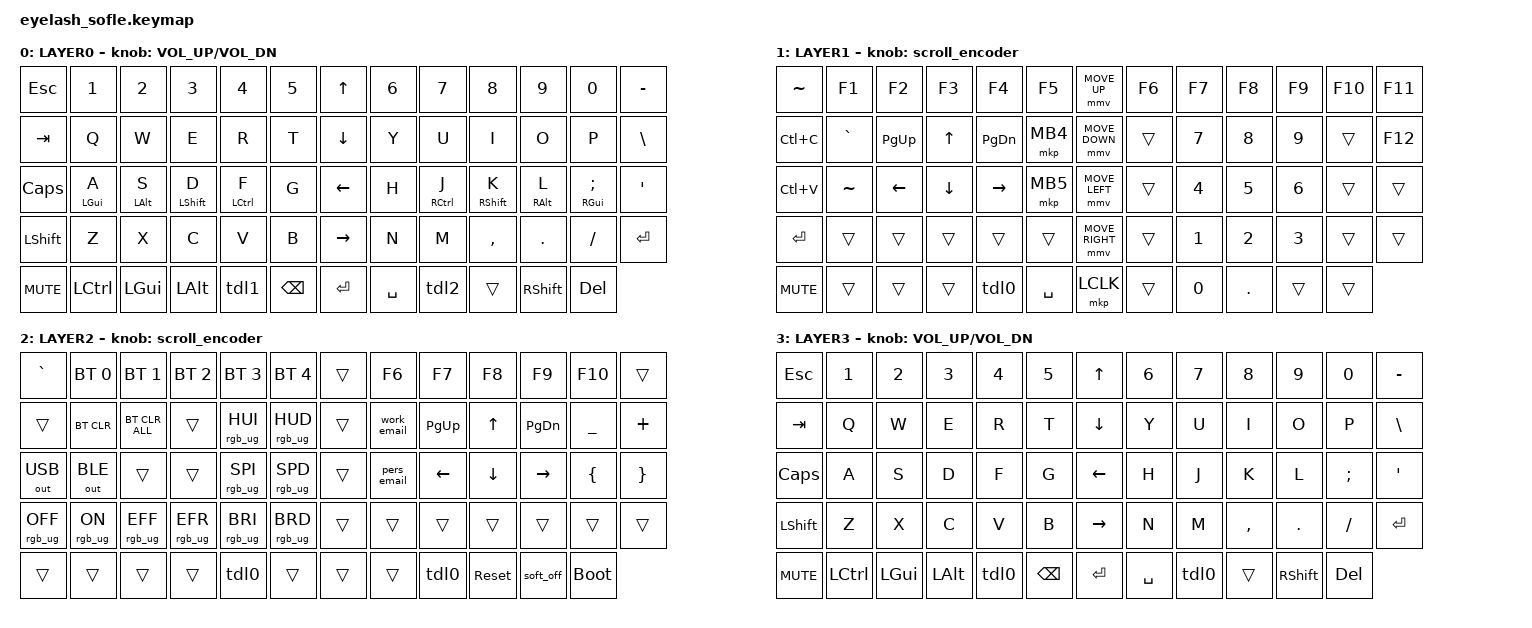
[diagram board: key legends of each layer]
#define ZMK_POINTING_DEFAULT_MOVE_VAL 1200  // 600
#define ZMK_POINTING_DEFAULT_SCRL_VAL 25   // 10

#include <input/processors.dtsi>
#include <zephyr/dt-bindings/input/input-event-codes.h>
#include <behaviors.dtsi>
#include <dt-bindings/zmk/bt.h>
#include <dt-bindings/zmk/keys.h>
#include <dt-bindings/zmk/outputs.h>
#include <dt-bindings/zmk/pointing.h>
#include <dt-bindings/zmk/rgb.h>

// Custom includes
#include "key_labels.h"

// Mouse/scroll globals 
&mmv_input_listener { input-processors = <&zip_xy_scaler 2 1>; };

&msc_input_listener { input-processors = <&zip_scroll_scaler 2 1>; };

&msc {
    acceleration-exponent = <1>;      // 0
    time-to-max-speed-ms = <100>;     // 300
    delay-ms = <0>;                   // 0
};

&mmv {
    time-to-max-speed-ms = <1500>;
    acceleration-exponent = <1>;
    trigger-period-ms = <16>;
};

/ {
	scroll_encoder: scroll_encoder {
        compatible = "zmk,behavior-sensor-rotate";
        #sensor-binding-cells = <0>;
        bindings = <&msc SCRL_DOWN>, <&msc SCRL_UP>;

        tap-ms = <100>;
    };
};

// Homerow mods

#define KEYS_L LT0 LT1 LT2 LT3 LT4 LT5 LM0 LM1 LM2 LM3 LM4 LM5 LB0 LB1 LB2 LB3 LB4 LB5
#define KEYS_R RT0 RT1 RT2 RT3 RT4 RT5 RM0 RM1 RM2 RM3 RM4 RM5 RB0 RB1 RB2 RB3 RB4 RB5
#define THUMBS LH4 LH3 LH2 LH1 LH0 RH0 RH1 RH2 RH3 RH4

#define TAPPING_TERM        280 	// tested down to 200ms. Now reset to original 280
#define TAPPING_TERM_FAST   180 	// added for home row mod shifts
#define QUICK_TAP_MS        175
#define PRIOR_IDLE          80		// changed from 100 to 80ms

/ {
    behaviors {
        hml: home_row_mod_left {
            compatible = "zmk,behavior-hold-tap";
            #binding-cells = <2>;
            flavor = "balanced";
            require-prior-idle-ms = <PRIOR_IDLE>;
            tapping-term-ms = <TAPPING_TERM>;
            quick-tap-ms = <QUICK_TAP_MS>;
            bindings = <&kp>, <&kp>;
            hold-trigger-key-positions = <KEYS_R THUMBS>;
            hold-trigger-on-release;
        };
        hmr: home_row_mod_right {
            compatible = "zmk,behavior-hold-tap";
            #binding-cells = <2>;
            flavor = "balanced";
            require-prior-idle-ms = <PRIOR_IDLE>;
            tapping-term-ms = <TAPPING_TERM>;
            quick-tap-ms = <QUICK_TAP_MS>;
            bindings = <&kp>, <&kp>;
            hold-trigger-key-positions = <KEYS_L THUMBS>;
            hold-trigger-on-release;
        };
	hmls: hml_shift {
            compatible = "zmk,behavior-hold-tap";
            #binding-cells = <2>;
            bindings = <&kp>, <&kp>;
            flavor = "balanced";
            tapping-term-ms = <TAPPING_TERM_FAST>;
            quick-tap-ms = <QUICK_TAP_MS>;
            require-prior-idle-ms = <PRIOR_IDLE>;
            hold-trigger-key-positions = <KEYS_R THUMBS>;
            // hold-trigger-on-release;
        };
        hmrs: hmr_shift {
            compatible = "zmk,behavior-hold-tap";
            #binding-cells = <2>;
            bindings = <&kp>, <&kp>;
            flavor = "balanced";
            tapping-term-ms = <TAPPING_TERM_FAST>;
            quick-tap-ms = <QUICK_TAP_MS>;
            require-prior-idle-ms = <PRIOR_IDLE>;
            hold-trigger-key-positions = <KEYS_L THUMBS>;
            // hold-trigger-on-release;
        };
    };
};

// Combos

#define COMBO_TM_FAST 22
#define COMBO_TM_SLOW 60

/ {
    combos {
        compatible = "zmk,combos";

        // Layers
        combo_tolayer0 {
            timeout-ms = <COMBO_TM_SLOW>;
            key-positions = <LH0 RH0>;
            bindings = <&lct0>;
        };
        combo_tolayer1 {
            timeout-ms = <COMBO_TM_SLOW>;
            key-positions = <LH1 RH1>;
            bindings = <&lct1>;
        };
        combo_tolayer2 {
            timeout-ms = <COMBO_TM_SLOW>;
            key-positions = <LH0 RH1>;
            bindings = <&lct2>;
        };
        combo_tolayer3 {
            timeout-ms = <COMBO_TM_SLOW>;
            key-positions = <LH1 RH0>;
            bindings = <&lct3>;
        };

        // Navigation
        combo_home {
            timeout-ms = <COMBO_TM_FAST>;
            require-prior-idle-ms = <PRIOR_IDLE>;
            key-positions = <LM3 LM2>;
            bindings = <&kp HOME>;
        };
        combo_end {
            timeout-ms = <COMBO_TM_FAST>;
            require-prior-idle-ms = <PRIOR_IDLE>;
            key-positions = <RM2 RM3>;
            bindings = <&kp END>;
        };
        combo_delete {
            timeout-ms = <COMBO_TM_FAST>;
            require-prior-idle-ms = <PRIOR_IDLE>;
            key-positions = <LM2 LM1>;
            bindings = <&kp DELETE>;
        };
        combo_refresh {
            timeout-ms = <COMBO_TM_FAST>;
            require-prior-idle-ms = <PRIOR_IDLE>;
            key-positions = <LT3 LT2>;
            bindings = <&kp F5>;
        };

        // Symbols
        combo_l_curly { //                          {
            timeout-ms = <COMBO_TM_FAST>;
            require-prior-idle-ms = <PRIOR_IDLE>;  
            key-positions = <LM1 LM0>;
            bindings = <&kp LBRC>;
        };
        combo_r_curly { //                          }
            timeout-ms = <COMBO_TM_FAST>;
            require-prior-idle-ms = <PRIOR_IDLE>;
            key-positions = <RM0 RM1>;
            bindings = <&kp RBRC>;
        };
        combo_l_bracket { //                        [
            timeout-ms = <COMBO_TM_FAST>;
            require-prior-idle-ms = <PRIOR_IDLE>;
            key-positions = <LB3 LB2>;
            bindings = <&kp LBKT>;
        };
        combo_r_bracket { //                        ]
            timeout-ms = <COMBO_TM_FAST>;
            require-prior-idle-ms = <PRIOR_IDLE>;
            key-positions = <RB2 RB3>;
            bindings = <&kp RBKT>;
        };
        combo_equals { //                           =
            timeout-ms = <COMBO_TM_FAST>;
            require-prior-idle-ms = <PRIOR_IDLE>;
            key-positions = <RM1 RM2>;
            bindings = <&kp EQUAL>;
        };
        combo_plus { //                             +
            timeout-ms = <COMBO_TM_FAST>;
            require-prior-idle-ms = <PRIOR_IDLE>;
            key-positions = <RB1 RB2>;
            bindings = <&kp PLUS>;
        };
        combo_minus { //                            -
            timeout-ms = <COMBO_TM_FAST>;
            require-prior-idle-ms = <PRIOR_IDLE>;
            key-positions = <LB2 LB1>;
            bindings = <&kp MINUS>;
        };

		// Other
		softoff {
            bindings = <&soft_off>;
            key-positions = <14 28 40>;
        };
    };
};

// Tap dances

#define TD_TERM 220

/ {
    behaviors {
		tdl0: tap_dance_lyr_0 {
			compatible = "zmk,behavior-tap-dance";
			#binding-cells = <0>;
			tapping-term-ms = <TD_TERM>;
			bindings = <&none>, <&lct0>;
		};
		tdl1: tap_dance_lyr_1 {
			compatible = "zmk,behavior-tap-dance";
			#binding-cells = <0>;
			tapping-term-ms = <TD_TERM>;
			bindings = <&lcm1>, <&lct1>, <&lct2>, <&lct3>;
		};
		tdl2: tap_dance_lyr_2 {
			compatible = "zmk,behavior-tap-dance";
			#binding-cells = <0>;
			tapping-term-ms = <TD_TERM>;
			bindings = <&lcm2>, <&lct2>;
		};
    };
};

// Macros

#define CLR_CERU			RGB_COLOR_HSB(180, 100, 100)
#define CLR_YELL			RGB_COLOR_HSB( 60, 100, 100)
#define CLR_GREE			RGB_COLOR_HSB(120, 100, 100)
#define CLR_PURP			RGB_COLOR_HSB(280, 100, 100)

/ {
    macros {
		// Misc
        pers_email: pers_email {
            compatible = "zmk,behavior-macro";
            #binding-cells = <0>;
            bindings
                = <&macro_tap &kp T &kp H &kp I &kp S &kp DOT &kp I &kp S &kp DOT &kp S &kp C &kp O &kp T &kp T &kp S &kp DOT &kp E &kp M &kp A &kp I &kp L &kp DOT &kp A &kp D &kp D &kp R &kp E &kp S &kp S &kp AT &kp G &kp M &kp A &kp I &kp L &kp DOT &kp C &kp O &kp M>;
        };
        work_email: work_email {
            compatible = "zmk,behavior-macro";
            #binding-cells = <0>;
            bindings
                = <&macro_tap &kp S &kp C &kp O &kp T &kp T &kp M &kp O &kp R &kp G &kp A &kp N &kp AT &kp C &kp H &kp E &kp V &kp R &kp O &kp N &kp DOT &kp C &kp O &kp M >;
        };

		// Layers
		// Layer 0, coloured to
		lct0: lct0 {
			compatible = "zmk,behavior-macro";
   			#binding-cells = <0>;
			wait-ms = <0>;
			tap-ms = <0>;
			bindings
			    = <&macro_tap &to 0>
			    , <&macro_tap &rgb_ug CLR_CERU>;
		};

		// Layer 1, coloured momentary
		lcm1: lcm1 {
			compatible = "zmk,behavior-macro";
   			#binding-cells = <0>;
			wait-ms = <0>;
			tap-ms = <0>;
			bindings
			    = <&macro_press &mo 1>
			    , <&macro_tap &rgb_ug CLR_YELL>
			    , <&macro_pause_for_release>
			    , <&macro_release &mo 1>
			    , <&macro_tap &rgb_ug CLR_CERU>;
		};
		// Layer 1, coloured to
		lct1: lct1 {
			compatible = "zmk,behavior-macro";
   			#binding-cells = <0>;
			wait-ms = <0>;
			tap-ms = <0>;
			bindings
			    = <&macro_tap &to 1>
			    , <&macro_tap &rgb_ug CLR_YELL>;
		};

		// Layer 2, coloured momentary
		lcm2: lcm2 {
			compatible = "zmk,behavior-macro";
   			#binding-cells = <0>;
			wait-ms = <0>;
			tap-ms = <0>;
			bindings
			    = <&macro_press &mo 2>
			    , <&macro_tap &rgb_ug CLR_GREE>
			    , <&macro_pause_for_release>
			    , <&macro_release &mo 2>
			    , <&macro_tap &rgb_ug CLR_CERU>;
		};
		// Layer 2, coloured to
		lct2: lct2 {
			compatible = "zmk,behavior-macro";
   			#binding-cells = <0>;
			wait-ms = <0>;
			tap-ms = <0>;
			bindings
			    = <&macro_tap &to 2>
			    , <&macro_tap &rgb_ug CLR_GREE>;
		};

		// Layer 3, coloured to
		lct3: lct3 {
			compatible = "zmk,behavior-macro";
   			#binding-cells = <0>;
			wait-ms = <0>;
			tap-ms = <0>;
			bindings
			    = <&macro_tap &to 3>
			    , <&macro_tap &rgb_ug CLR_PURP>;
		};
    };
};

&soft_off { hold-time-ms = <2000>; };

/ {
    keymap {
        compatible = "zmk,keymap";

        layer_0 {
            bindings = <
&kp ESC     	&kp N1          &kp N2          &kp N3          &kp N4          &kp N5      	&kp UP			&kp N6         &kp N7		&kp N8       	&kp N9          &kp N0         &kp MINUS
&kp TAB     	&kp Q           &kp W           &kp E           &kp R           &kp T       	&kp DOWN		&kp Y          &kp U		&kp I        	&kp O           &kp P          &kp BSLH
&kp CAPS    	&hml LGUI A 	&hml LALT S 	&hmls LSHFT D	&hml LCTRL F	&kp G       	&kp LEFT		&kp H          &hmr RCTRL J	&hmrs RSHFT K 	&hmr RALT L 	&hmr RGUI SEMI &kp APOS
&kp LSHFT   	&kp Z           &kp X           &kp C           &kp V           &kp B       	&kp RIGHT		&kp N          &kp M		&kp COMMA    	&kp DOT         &kp FSLH       &kp ENTER
&kp C_MUTE  	&kp LCTRL       &kp LGUI		&kp LALT    	&tdl1           &kp BSPC		&kp ENTER		&kp SPACE      &tdl2		&trans       	&kp RSHFT	&kp DEL
            >;
            display-name = "LAYER0";
            sensor-bindings = <&inc_dec_kp C_VOLUME_UP C_VOL_DN>;
        };

        layer_1 {
            bindings = <
&kp TILDE   	&kp F1          &kp F2          &kp F3          &kp F4          &kp F5			&mmv MOVE_UP	&kp F6         &kp F7          &kp F8      	&kp F9          &kp F10		&kp F11
&kp LC(C)   	&kp GRAVE       &kp PG_UP       &kp UP          &kp PG_DN       &mkp MB4    	&mmv MOVE_DOWN	&trans         &kp N7          &kp N8      	&kp N9          &trans		&kp F12
&kp LC(V)   	&kp TILDE       &kp LEFT        &kp DOWN        &kp RIGHT       &mkp MB5   		&mmv MOVE_LEFT	&trans         &kp N4          &kp N5      	&kp N6          &trans		&trans
&kp ENTER   	&trans          &trans          &trans          &trans          &trans      	&mmv MOVE_RIGHT	&trans         &kp N1          &kp N2      	&kp N3          &trans		&trans
&kp C_MUTE  	&trans          &trans          &trans          &tdl0			&kp SPACE   	&mkp LCLK		&trans         &kp N0          &kp DOT     	&trans          &trans
            >;
            display-name = "LAYER1";
            sensor-bindings = <&scroll_encoder>;
        };

        layer_2 {
            bindings = <
&kp GRAVE       &bt BT_SEL 0    &bt BT_SEL 1    &bt BT_SEL 2	&bt BT_SEL 3    &bt BT_SEL 4    &trans     		&kp F6          &kp F7         &kp F8      	&kp F9      	&kp F10      	&trans
&trans          &bt BT_CLR      &bt BT_CLR_ALL  &trans			&rgb_ug RGB_HUI &rgb_ug RGB_HUD &trans      	&work_email     &kp PG_UP      &kp UP       &kp PG_DN		&kp UNDER    	&kp PLUS
&out OUT_USB    &out OUT_BLE    &trans          &trans			&rgb_ug RGB_SPI &rgb_ug RGB_SPD &trans      	&pers_email		&kp LEFT       &kp DOWN     &kp RIGHT		&kp LBRC     	&kp RBRC
&rgb_ug RGB_OFF &rgb_ug RGB_ON  &rgb_ug RGB_EFF &rgb_ug RGB_EFR	&rgb_ug RGB_BRI &rgb_ug RGB_BRD &trans      	&trans          &trans         &trans      	&trans      	&trans       	&trans
&trans          &trans          &trans          &trans			&tdl0           &trans			&trans      	&trans          &tdl0          &sys_reset  	&soft_off   	&bootloader
            >;
            display-name = "LAYER2";
            sensor-bindings = <&scroll_encoder>;
        };

        layer_3 {
            bindings = <
&kp ESC     	&kp N1          &kp N2           &kp N3			&kp N4			&kp N5			&kp UP_ARROW	&kp N6     		&kp N7			&kp N8 		&kp N9           &kp N0			&kp MINUS
&kp TAB     	&kp Q           &kp W            &kp E			&kp R			&kp T			&kp DOWN_ARROW	&kp Y      		&kp U			&kp I		&kp O            &kp P			&kp BSLH
&kp CAPS    	&kp A           &kp S            &kp D 			&kp F 			&kp G			&kp LEFT_ARROW	&kp H      		&kp J			&kp K		&kp L            &kp SEMI		&kp APOS
&kp LSHFT   	&kp Z           &kp X            &kp C			&kp V 			&kp B			&kp RIGHT_ARROW	&kp N      		&kp M			&kp COMMA	&kp DOT          &kp FSLH		&kp ENTER
&kp C_MUTE  	&kp LCTRL       &kp LEFT_GUI     &kp LEFT_ALT	&tdl0			&kp BACKSPACE	&kp ENTER		&kp SPACE  		&tdl0			&trans		&kp RIGHT_SHIFT  &kp DELETE
            >;
            display-name = "LAYER3";
            sensor-bindings = <&inc_dec_kp C_VOLUME_UP C_VOL_DN>;
        };
    };
};
